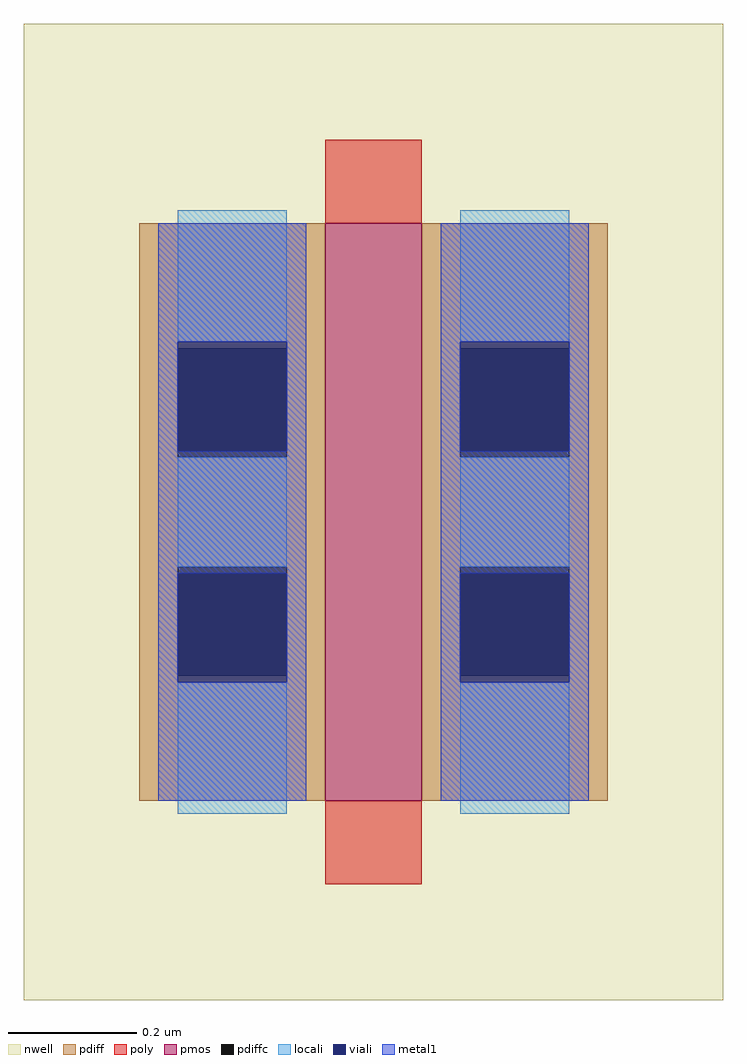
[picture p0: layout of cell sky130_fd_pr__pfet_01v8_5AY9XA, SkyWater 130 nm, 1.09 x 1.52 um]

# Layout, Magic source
magic
tech sky130A
magscale 1 2
<< nwell >>
rect -109 -152 109 152
<< pmos >>
rect -15 -90 15 90
<< pdiff >>
rect -73 51 -15 90
rect -73 17 -61 51
rect -27 17 -15 51
rect -73 -17 -15 17
rect -73 -51 -61 -17
rect -27 -51 -15 -17
rect -73 -90 -15 -51
rect 15 51 73 90
rect 15 17 27 51
rect 61 17 73 51
rect 15 -17 73 17
rect 15 -51 27 -17
rect 61 -51 73 -17
rect 15 -90 73 -51
<< pdiffc >>
rect -61 17 -27 51
rect -61 -51 -27 -17
rect 27 17 61 51
rect 27 -51 61 -17
<< poly >>
rect -15 90 15 116
rect -15 -116 15 -90
<< locali >>
rect -61 53 -27 94
rect -61 -17 -27 17
rect -61 -94 -27 -53
rect 27 53 61 94
rect 27 -17 61 17
rect 27 -94 61 -53
<< viali >>
rect -61 51 -27 53
rect -61 19 -27 51
rect -61 -51 -27 -19
rect -61 -53 -27 -51
rect 27 51 61 53
rect 27 19 61 51
rect 27 -51 61 -19
rect 27 -53 61 -51
<< metal1 >>
rect -67 53 -21 90
rect -67 19 -61 53
rect -27 19 -21 53
rect -67 -19 -21 19
rect -67 -53 -61 -19
rect -27 -53 -21 -19
rect -67 -90 -21 -53
rect 21 53 67 90
rect 21 19 27 53
rect 61 19 67 53
rect 21 -19 67 19
rect 21 -53 27 -19
rect 61 -53 67 -19
rect 21 -90 67 -53
<< end >>
